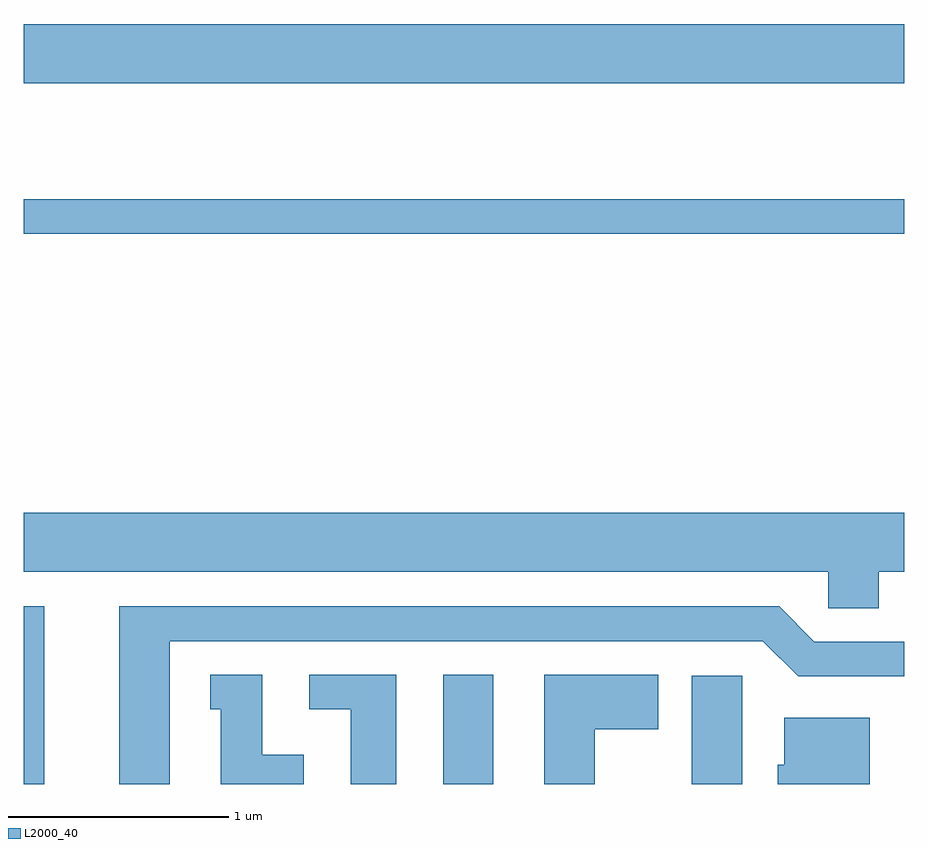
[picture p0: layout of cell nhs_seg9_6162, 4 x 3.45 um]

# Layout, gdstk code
import gdstk
lib = gdstk.Library(unit=1e-6, precision=1e-09)
def R(c, l, rs):  # rectangles x0, y0, x1, y1
    for r in rs: c.add(gdstk.rectangle(r[:2], r[2:], *l))
def P(c, l, *ps):  # polygons
    for p in ps: c.add(gdstk.Polygon(p, *l))
L2000_40 = (2000, 40)

nhs_seg9_6162 = lib.new_cell('nhs_seg9_6162')
R(nhs_seg9_6162, L2000_40, [(367.611,1966.432,367.704,1967.239), (369.516,1966.432,369.744,1966.929), (370.646,1966.432,370.874,1966.924), (367.611,1968.931,371.611,1969.089), (367.611,1969.616,371.611,1969.884)])
P(nhs_seg9_6162, L2000_40, [(371.494,1967.396),(371.611,1967.396),(371.611,1967.664),(367.611,1967.664),(367.611,1967.396),(371.266,1967.396),(371.266,1967.231),(371.494,1967.231)],
  [(368.274,1967.081),(370.969,1967.081),(371.129,1966.921),(371.611,1966.921),(371.611,1967.079),(371.202,1967.079),(371.042,1967.239),(368.046,1967.239),(368.046,1966.432),(368.274,1966.432)],
  [(368.884,1966.564),(368.694,1966.564),(368.694,1966.929),(368.458,1966.929),(368.458,1966.771),(368.506,1966.771),(368.506,1966.432),(368.884,1966.432)],
  [(369.304,1966.929),(368.908,1966.929),(368.908,1966.771),(369.096,1966.771),(369.096,1966.432),(369.304,1966.432)],
  [(370.204,1966.681),(370.494,1966.681),(370.494,1966.929),(369.976,1966.929),(369.976,1966.432),(370.204,1966.432)],
  [(371.454,1966.734),(371.066,1966.734),(371.066,1966.519),(371.036,1966.519),(371.036,1966.432),(371.454,1966.432)])

lib.write_gds('nhs_seg9_6162.gds')
